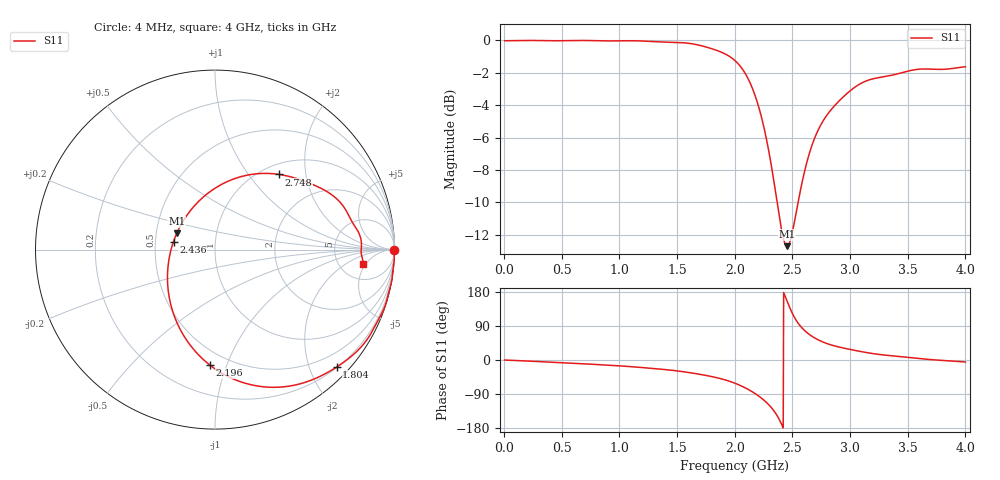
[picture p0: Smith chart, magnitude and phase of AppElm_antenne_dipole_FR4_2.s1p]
! TOUCHSTONE file generated by CST MICROWAVE STUDIO
! Date and time: Thu May 12 17:57:30 2022
! Project name: AppElm_antenne_dipole_FR4.cst
! Parameters = {L=38.8; e=0.035; f=2.45e+09; h=1.6; i=0.8; l1=4; lambda=122.449; ls=30; wl=1.7; ws=64}
! Header version: 2018
! Port assignment regex: !\s*Touchstone port\s*([0-9]+)\s*=\s*(CST MWS port|CST DS port)\s*([0-9]+|Zmin|Zmax)\s*\(\"(.*)\"\)(\s*mode\s*([0-9]+))?.*
! Touchstone port assignment:
! Touchstone port 1 = CST MWS port 1 ("")
# GHz S MA R 50
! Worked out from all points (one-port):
!   1000 points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, 4 MHz to 4 GHz, reference 50 ohm
!   lowest |S11| = -12.7 dB at 2.452 GHz (marker M1), VSWR 1.60, Z = 32 + j6.18 ohm
!   |S11| at or under -10 dB: 2.367 GHz to 2.549 GHz (182.1 MHz wide, 7.41 % of centre)
!   S11 on the Smith chart (normalised r, x): 4 MHz: open; 1.804 GHz: 0.21, -2.46; 2.196 GHz: 0.40, -0.87; 2.436 GHz: 0.62, +0.06; 2.748 GHz: 1.18, +1.42; 4 GHz: 8.58, -4.27
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0.004  0.9979 -0.1
0.504  0.9981 -7.0
1.004  0.9973 -15.5
1.228  0.9948 -20.7
1.504  0.9861 -28.9
1.656  0.9727 -35.6
1.804  0.9421 -44.0
1.912  0.9102 -52.1
2.004  0.8652 -61.6
2.108  0.7711 -76.2
2.152  0.7129 -83.9
2.196  0.6433 -92.6
2.264  0.5172 -109.0
2.324  0.397 -128.1
2.38  0.2952 -153.6
2.436  0.2355 169.0
2.452  0.2316 156.7
2.504  0.2602 120.2
2.56  0.3311 92.9
2.616  0.4086 74.9
2.676  0.4817 61.3
2.748  0.5502 49.6
2.856  0.6233 38.0
3.004  0.7008 27.6
3.184  0.7589 17.6
3.504  0.8046 7.0
3.704  0.8155 0.9
4  0.8295 -5.4
